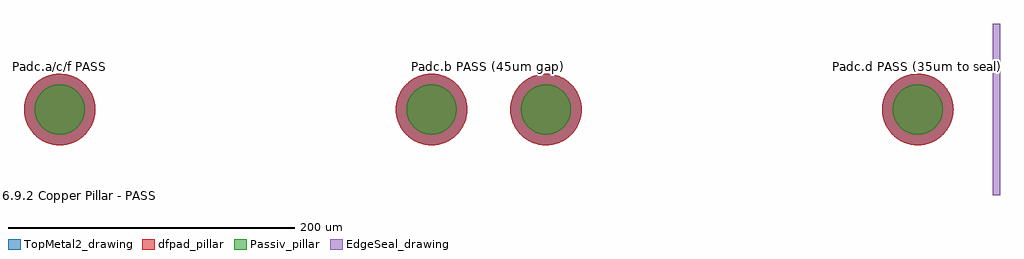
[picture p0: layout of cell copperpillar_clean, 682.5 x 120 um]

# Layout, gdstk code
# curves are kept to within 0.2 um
import gdstk
lib = gdstk.Library(unit=1e-6, precision=1e-09)
def R(c, l, rs):  # rectangles x0, y0, x1, y1
    for r in rs: c.add(gdstk.rectangle(r[:2], r[2:], *l))
def P(c, l, *ps):  # polygons
    for p in ps: c.add(gdstk.Polygon(p, *l))
Passiv_pillar = (9, 35)
EdgeSeal_drawing = (39, 0)
dfpad_pillar = (41, 35)
TopMetal2_drawing = (134, 0)

copperpillar_clean = lib.new_cell('copperpillar_clean')
P(copperpillar_clean, Passiv_pillar, [(0,-17.5),(-3.414,-17.164),(-6.697,-16.168),(-9.722,-14.551),(-12.374,-12.374),(-14.551,-9.722),(-16.168,-6.697),(-17.164,-3.414),(-17.5,0),(-17.164,3.414),(-16.168,6.697),(-14.551,9.722),(-12.374,12.374),(-9.722,14.551),(-6.697,16.168),(-3.414,17.164),(0,17.5),(3.414,17.164),(6.697,16.168),(9.722,14.551),(12.374,12.374),(14.551,9.722),(16.168,6.697),(17.164,3.414),(17.5,0),(17.164,-3.414),(16.168,-6.697),(14.551,-9.722),(12.374,-12.374),(9.722,-14.551),(6.697,-16.168),(3.414,-17.164)],
  [(260,-17.5),(256.586,-17.164),(253.303,-16.168),(250.278,-14.551),(247.626,-12.374),(245.449,-9.722),(243.832,-6.697),(242.836,-3.414),(242.5,0),(242.836,3.414),(243.832,6.697),(245.449,9.722),(247.626,12.374),(250.278,14.551),(253.303,16.168),(256.586,17.164),(260,17.5),(263.414,17.164),(266.697,16.168),(269.722,14.551),(272.374,12.374),(274.551,9.722),(276.168,6.697),(277.164,3.414),(277.5,0),(277.164,-3.414),(276.168,-6.697),(274.551,-9.722),(272.374,-12.374),(269.722,-14.551),(266.697,-16.168),(263.414,-17.164)],
  [(340,-17.5),(336.586,-17.164),(333.303,-16.168),(330.278,-14.551),(327.626,-12.374),(325.449,-9.722),(323.832,-6.697),(322.836,-3.414),(322.5,0),(322.836,3.414),(323.832,6.697),(325.449,9.722),(327.626,12.374),(330.278,14.551),(333.303,16.168),(336.586,17.164),(340,17.5),(343.414,17.164),(346.697,16.168),(349.722,14.551),(352.374,12.374),(354.551,9.722),(356.168,6.697),(357.164,3.414),(357.5,0),(357.164,-3.414),(356.168,-6.697),(354.551,-9.722),(352.374,-12.374),(349.722,-14.551),(346.697,-16.168),(343.414,-17.164)],
  [(600,-17.5),(596.586,-17.164),(593.303,-16.168),(590.278,-14.551),(587.626,-12.374),(585.449,-9.722),(583.832,-6.697),(582.836,-3.414),(582.5,0),(582.836,3.414),(583.832,6.697),(585.449,9.722),(587.626,12.374),(590.278,14.551),(593.303,16.168),(596.586,17.164),(600,17.5),(603.414,17.164),(606.697,16.168),(609.722,14.551),(612.374,12.374),(614.551,9.722),(616.168,6.697),(617.164,3.414),(617.5,0),(617.164,-3.414),(616.168,-6.697),(614.551,-9.722),(612.374,-12.374),(609.722,-14.551),(606.697,-16.168),(603.414,-17.164)])
R(copperpillar_clean, EdgeSeal_drawing, [(652.5,-60,657.5,60)])
P(copperpillar_clean, dfpad_pillar, [(0,-25),(-4.877,-24.52),(-9.567,-23.097),(-13.889,-20.787),(-17.678,-17.678),(-20.787,-13.889),(-23.097,-9.567),(-24.52,-4.877),(-25,0),(-24.52,4.877),(-23.097,9.567),(-20.787,13.889),(-17.678,17.678),(-13.889,20.787),(-9.567,23.097),(-4.877,24.52),(0,25),(4.877,24.52),(9.567,23.097),(13.889,20.787),(17.678,17.678),(20.787,13.889),(23.097,9.567),(24.52,4.877),(25,0),(24.52,-4.877),(23.097,-9.567),(20.787,-13.889),(17.678,-17.678),(13.889,-20.787),(9.567,-23.097),(4.877,-24.52)],
  [(260,-25),(255.123,-24.52),(250.433,-23.097),(246.111,-20.787),(242.322,-17.678),(239.213,-13.889),(236.903,-9.567),(235.48,-4.877),(235,0),(235.48,4.877),(236.903,9.567),(239.213,13.889),(242.322,17.678),(246.111,20.787),(250.433,23.097),(255.123,24.52),(260,25),(264.877,24.52),(269.567,23.097),(273.889,20.787),(277.678,17.678),(280.787,13.889),(283.097,9.567),(284.52,4.877),(285,0),(284.52,-4.877),(283.097,-9.567),(280.787,-13.889),(277.678,-17.678),(273.889,-20.787),(269.567,-23.097),(264.877,-24.52)],
  [(340,-25),(335.123,-24.52),(330.433,-23.097),(326.111,-20.787),(322.322,-17.678),(319.213,-13.889),(316.903,-9.567),(315.48,-4.877),(315,0),(315.48,4.877),(316.903,9.567),(319.213,13.889),(322.322,17.678),(326.111,20.787),(330.433,23.097),(335.123,24.52),(340,25),(344.877,24.52),(349.567,23.097),(353.889,20.787),(357.678,17.678),(360.787,13.889),(363.097,9.567),(364.52,4.877),(365,0),(364.52,-4.877),(363.097,-9.567),(360.787,-13.889),(357.678,-17.678),(353.889,-20.787),(349.567,-23.097),(344.877,-24.52)],
  [(600,-25),(595.123,-24.52),(590.433,-23.097),(586.111,-20.787),(582.322,-17.678),(579.213,-13.889),(576.903,-9.567),(575.48,-4.877),(575,0),(575.48,4.877),(576.903,9.567),(579.213,13.889),(582.322,17.678),(586.111,20.787),(590.433,23.097),(595.123,24.52),(600,25),(604.877,24.52),(609.567,23.097),(613.889,20.787),(617.678,17.678),(620.787,13.889),(623.097,9.567),(624.52,4.877),(625,0),(624.52,-4.877),(623.097,-9.567),(620.787,-13.889),(617.678,-17.678),(613.889,-20.787),(609.567,-23.097),(604.877,-24.52)])
P(copperpillar_clean, TopMetal2_drawing, [(0,-25),(-4.877,-24.52),(-9.567,-23.097),(-13.889,-20.787),(-17.678,-17.678),(-20.787,-13.889),(-23.097,-9.567),(-24.52,-4.877),(-25,0),(-24.52,4.877),(-23.097,9.567),(-20.787,13.889),(-17.678,17.678),(-13.889,20.787),(-9.567,23.097),(-4.877,24.52),(0,25),(4.877,24.52),(9.567,23.097),(13.889,20.787),(17.678,17.678),(20.787,13.889),(23.097,9.567),(24.52,4.877),(25,0),(24.52,-4.877),(23.097,-9.567),(20.787,-13.889),(17.678,-17.678),(13.889,-20.787),(9.567,-23.097),(4.877,-24.52)],
  [(260,-25),(255.123,-24.52),(250.433,-23.097),(246.111,-20.787),(242.322,-17.678),(239.213,-13.889),(236.903,-9.567),(235.48,-4.877),(235,0),(235.48,4.877),(236.903,9.567),(239.213,13.889),(242.322,17.678),(246.111,20.787),(250.433,23.097),(255.123,24.52),(260,25),(264.877,24.52),(269.567,23.097),(273.889,20.787),(277.678,17.678),(280.787,13.889),(283.097,9.567),(284.52,4.877),(285,0),(284.52,-4.877),(283.097,-9.567),(280.787,-13.889),(277.678,-17.678),(273.889,-20.787),(269.567,-23.097),(264.877,-24.52)],
  [(340,-25),(335.123,-24.52),(330.433,-23.097),(326.111,-20.787),(322.322,-17.678),(319.213,-13.889),(316.903,-9.567),(315.48,-4.877),(315,0),(315.48,4.877),(316.903,9.567),(319.213,13.889),(322.322,17.678),(326.111,20.787),(330.433,23.097),(335.123,24.52),(340,25),(344.877,24.52),(349.567,23.097),(353.889,20.787),(357.678,17.678),(360.787,13.889),(363.097,9.567),(364.52,4.877),(365,0),(364.52,-4.877),(363.097,-9.567),(360.787,-13.889),(357.678,-17.678),(353.889,-20.787),(349.567,-23.097),(344.877,-24.52)],
  [(600,-25),(595.123,-24.52),(590.433,-23.097),(586.111,-20.787),(582.322,-17.678),(579.213,-13.889),(576.903,-9.567),(575.48,-4.877),(575,0),(575.48,4.877),(576.903,9.567),(579.213,13.889),(582.322,17.678),(586.111,20.787),(590.433,23.097),(595.123,24.52),(600,25),(604.877,24.52),(609.567,23.097),(613.889,20.787),(617.678,17.678),(620.787,13.889),(623.097,9.567),(624.52,4.877),(625,0),(624.52,-4.877),(623.097,-9.567),(620.787,-13.889),(617.678,-17.678),(613.889,-20.787),(609.567,-23.097),(604.877,-24.52)])
copperpillar_clean.add(gdstk.Label('6.9.2 Copper Pillar - PASS', (0,-60), layer=63, texttype=0))
copperpillar_clean.add(gdstk.Label('Padc.a/c/f PASS', (0,30), layer=63, texttype=0))
copperpillar_clean.add(gdstk.Label('Padc.b PASS (45um gap)', (300,30), layer=63, texttype=0))
copperpillar_clean.add(gdstk.Label('Padc.d PASS (35um to seal)', (600,30), layer=63, texttype=0))

lib.write_gds('copperpillar_clean.gds')
